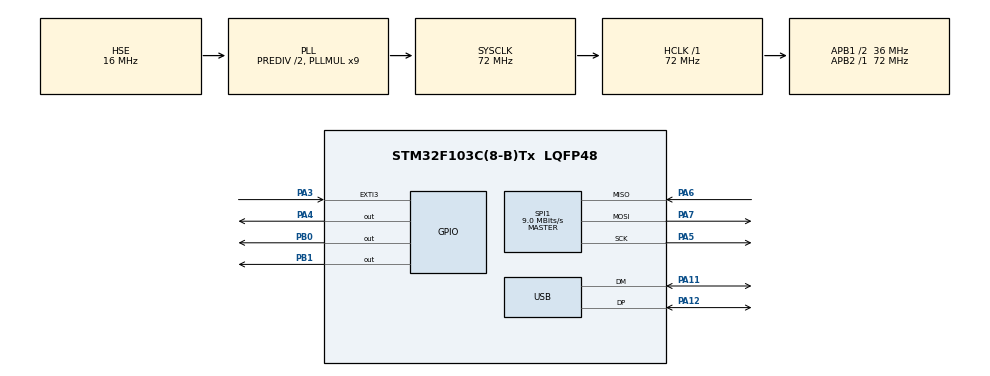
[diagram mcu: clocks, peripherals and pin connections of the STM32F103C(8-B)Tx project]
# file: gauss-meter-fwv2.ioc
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Mcu.Family=STM32F1
Mcu.Name=STM32F103C(8-B)Tx
Mcu.Package=LQFP48
NVIC.EXTI3_IRQn=true\:0\:0\:false\:false\:true\:true\:true\:true
NVIC.PriorityGroup=NVIC_PRIORITYGROUP_4
NVIC.USB_HP_CAN1_TX_IRQn=true\:0\:0\:false\:false\:true\:true\:true\:true
NVIC.USB_LP_CAN1_RX0_IRQn=true\:0\:0\:false\:false\:true\:true\:true\:true
PA11.Mode=Device
PA11.Signal=USB_DM
PA12.Mode=Device
PA12.Signal=USB_DP
PA13.Mode=Serial_Wire
PA13.Signal=SYS_JTMS-SWDIO
PA14.Mode=Serial_Wire
PA14.Signal=SYS_JTCK-SWCLK
PA3.GPIO_ModeDefaultEXTI=GPIO_MODE_IT_FALLING
PA3.Signal=GPXTI3
PA4.PinState=GPIO_PIN_SET
PA4.Signal=GPIO_Output
PA5.Mode=Full_Duplex_Master
PA5.Signal=SPI1_SCK
PA6.Mode=Full_Duplex_Master
PA6.Signal=SPI1_MISO
PA7.Mode=Full_Duplex_Master
PA7.Signal=SPI1_MOSI
PB0.Signal=GPIO_Output
PB1.Signal=GPIO_Output
PD0-OSC_IN.Mode=HSE-External-Oscillator
PD0-OSC_IN.Signal=RCC_OSC_IN
PD1-OSC_OUT.Mode=HSE-External-Oscillator
PD1-OSC_OUT.Signal=RCC_OSC_OUT
ProjectManager.HeapSize=0x200
ProjectManager.StackSize=0x400
ProjectManager.TargetToolchain=CMake
RCC.AHBFreq_Value=72000000
RCC.APB1CLKDivider=RCC_HCLK_DIV2
RCC.APB1Freq_Value=36000000
RCC.APB1TimFreq_Value=72000000
RCC.APB2Freq_Value=72000000
RCC.APB2TimFreq_Value=72000000
RCC.FLatency=FLASH_LATENCY_2
RCC.HCLKFreq_Value=72000000
RCC.HSEDivPLL=RCC_HSE_PREDIV_DIV2
RCC.HSE_VALUE=16000000
RCC.PLLMUL=RCC_PLL_MUL9
RCC.SYSCLKFreq_VALUE=72000000
RCC.SYSCLKSource=RCC_SYSCLKSOURCE_PLLCLK
RCC.USBFreq_Value=48000000
RCC.USBPrescaler=RCC_USBCLKSOURCE_PLL_DIV1_5
SPI1.BaudRatePrescaler=SPI_BAUDRATEPRESCALER_8
SPI1.CLKPhase=SPI_PHASE_1EDGE
SPI1.CLKPolarity=SPI_POLARITY_LOW
SPI1.CRCCalculation=SPI_CRCCALCULATION_DISABLE
SPI1.CalculateBaudRate=9.0 MBits/s
SPI1.DataSize=SPI_DATASIZE_8BIT
SPI1.Direction=SPI_DIRECTION_2LINES
SPI1.FirstBit=SPI_FIRSTBIT_MSB
SPI1.Mode=SPI_MODE_MASTER
SPI1.NSS=SPI_NSS_SOFT
SPI1.TIMode=SPI_TIMODE_DISABLE
SPI1.VirtualType=VM_MASTER
USB.DeviceSpeed=PCD_SPEED_FULL
USB.battery_charging_enable=DISABLE
USB.low_power_enable=DISABLE
USB.lpm_enable=DISABLE
USB_DEVICE.APP_RX_DATA_SIZE=1024
USB_DEVICE.APP_TX_DATA_SIZE=1024
USB_DEVICE.CLASS_NAME_FS=CDC
USB_DEVICE.CONFIGURATION_STRING_CDC_FS=CDC Config
USB_DEVICE.INTERFACE_STRING_CDC_FS=CDC Interface
USB_DEVICE.LANGID_STRING=1033
USB_DEVICE.MANUFACTURER_STRING=STMicroelectronics
USB_DEVICE.PID_CDC_FS=22336
USB_DEVICE.PRODUCT_STRING_CDC_FS=STM32 Virtual ComPort
USB_DEVICE.USBD_DEBUG_LEVEL=0
USB_DEVICE.USBD_MAX_NUM_CONFIGURATION=1
USB_DEVICE.USBD_MAX_NUM_INTERFACES=1
USB_DEVICE.USBD_MAX_STR_DESC_SIZ=512
USB_DEVICE.USBD_SELF_POWERED=0
USB_DEVICE.VID=1155
USB_DEVICE.VirtualMode=Cdc
USB_DEVICE.VirtualModeFS=Cdc_FS
VP_USB_DEVICE_VS_USB_DEVICE_CDC_FS.Mode=CDC_FS
board=custom

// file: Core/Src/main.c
/* USER CODE BEGIN Header */
/**
  ******************************************************************************
  * @file           : main.c
  * @brief          : Main program body
  ******************************************************************************
  * @attention
  *
  * Copyright (c) 2026 STMicroelectronics.
  * All rights reserved.
  *
  * This software is licensed under terms that can be found in the LICENSE file
  * in the root directory of this software component.
  * If no LICENSE file comes with this software, it is provided AS-IS.
  *
  ******************************************************************************
  */
/* USER CODE END Header */
#include "main.h"
#include "usb_device.h"

/* USER CODE BEGIN Includes */

#include "usbd_cdc_if.h"
#include <stdint.h>
/* USER CODE END Includes */

SPI_HandleTypeDef hspi1;

/* USER CODE BEGIN PV */
uint8_t usb_tx_buf[USB_BUF_LEN];
uint16_t usb_tx_buf_len;

uint8_t usb_rx_buf[USB_BUF_LEN];
uint16_t usb_rx_buf_len;
volatile uint8_t usb_rx_flag = 0;

volatile uint8_t start_measurement_flag = 0;
volatile uint8_t alert_flag = 0;
/* USER CODE END PV */

void SystemClock_Config(void);
static void MX_GPIO_Init(void);
static void MX_SPI1_Init(void);
/* USER CODE BEGIN PFP */
void USB_RXCallback(uint8_t *buf, uint32_t *len) {
  memcpy(usb_rx_buf, buf, *len);
  if(*len <= USB_BUF_LEN) {
    usb_rx_buf[*len] = 0x00;
  }
  usb_rx_buf_len = *len;
  usb_rx_flag = 1;

  if(buf[0] == 'H') {
    start_measurement_flag = 1;   // set flag if received 'H' for start
  } else if(buf[0] == 'S') {
    start_measurement_flag = 0;   // reset flag if received 'S' for stop
  }                               // don't change flag value in other case
}

uint32_t GetMicros(void) {
  uint32_t ms;
  uint32_t st;
  uint32_t load = SysTick->LOAD;

  do {
    ms = HAL_GetTick();   // get current ms
    st = SysTick->VAL;
  } while(ms != HAL_GetTick());   // get new current ms if changed

  uint32_t ticks_per_us = SystemCoreClock / 1e6;

  return (ms * 1000) + (load - st) / ticks_per_us;
    // load - st due to the systick timer counts downwards
}
/* USER CODE END PFP */

int main(void)
{

  /* MCU Configuration--------------------------------------------------------*/

  /* Reset of all peripherals, Initializes the Flash interface and the Systick. */
  HAL_Init();

  /* Configure the system clock */
  SystemClock_Config();

  /* Initialize all configured peripherals */
  MX_GPIO_Init();
  MX_SPI1_Init();
  MX_USB_DEVICE_Init();
  /* USER CODE BEGIN 2 */
  app_main();             // actual main function
  /* USER CODE END 2 */

  /* Infinite loop */
  while (1)
  {

  }
}

void SystemClock_Config(void)
{
  RCC_OscInitTypeDef RCC_OscInitStruct = {0};
  RCC_ClkInitTypeDef RCC_ClkInitStruct = {0};
  RCC_PeriphCLKInitTypeDef PeriphClkInit = {0};

  /** Initializes the RCC Oscillators according to the specified parameters
  * in the RCC_OscInitTypeDef structure.
  */
  RCC_OscInitStruct.OscillatorType = RCC_OSCILLATORTYPE_HSE;
  RCC_OscInitStruct.HSEState = RCC_HSE_ON;
  RCC_OscInitStruct.HSEPredivValue = RCC_HSE_PREDIV_DIV2;
  RCC_OscInitStruct.HSIState = RCC_HSI_ON;
  RCC_OscInitStruct.PLL.PLLState = RCC_PLL_ON;
  RCC_OscInitStruct.PLL.PLLSource = RCC_PLLSOURCE_HSE;
  RCC_OscInitStruct.PLL.PLLMUL = RCC_PLL_MUL9;
  if (HAL_RCC_OscConfig(&RCC_OscInitStruct) != HAL_OK)
  {
    Error_Handler();
  }

  /** Initializes the CPU, AHB and APB buses clocks
  */
  RCC_ClkInitStruct.ClockType = RCC_CLOCKTYPE_HCLK|RCC_CLOCKTYPE_SYSCLK
                              |RCC_CLOCKTYPE_PCLK1|RCC_CLOCKTYPE_PCLK2;
  RCC_ClkInitStruct.SYSCLKSource = RCC_SYSCLKSOURCE_PLLCLK;
  RCC_ClkInitStruct.AHBCLKDivider = RCC_SYSCLK_DIV1;
  RCC_ClkInitStruct.APB1CLKDivider = RCC_HCLK_DIV2;
  RCC_ClkInitStruct.APB2CLKDivider = RCC_HCLK_DIV1;

  if (HAL_RCC_ClockConfig(&RCC_ClkInitStruct, FLASH_LATENCY_2) != HAL_OK)
  {
    Error_Handler();
  }
  PeriphClkInit.PeriphClockSelection = RCC_PERIPHCLK_USB;
  PeriphClkInit.UsbClockSelection = RCC_USBCLKSOURCE_PLL_DIV1_5;
  if (HAL_RCCEx_PeriphCLKConfig(&PeriphClkInit) != HAL_OK)
  {
    Error_Handler();
  }
}

static void MX_SPI1_Init(void)
{

  /* SPI1 parameter configuration*/
  hspi1.Instance = SPI1;
  hspi1.Init.Mode = SPI_MODE_MASTER;
  hspi1.Init.Direction = SPI_DIRECTION_2LINES;
  hspi1.Init.DataSize = SPI_DATASIZE_8BIT;
  hspi1.Init.CLKPolarity = SPI_POLARITY_LOW;
  hspi1.Init.CLKPhase = SPI_PHASE_1EDGE;
  hspi1.Init.NSS = SPI_NSS_SOFT;
  hspi1.Init.BaudRatePrescaler = SPI_BAUDRATEPRESCALER_8;
  hspi1.Init.FirstBit = SPI_FIRSTBIT_MSB;
  hspi1.Init.TIMode = SPI_TIMODE_DISABLE;
  hspi1.Init.CRCCalculation = SPI_CRCCALCULATION_DISABLE;
  hspi1.Init.CRCPolynomial = 10;
  if (HAL_SPI_Init(&hspi1) != HAL_OK)
  {
    Error_Handler();
  }

}

static void MX_GPIO_Init(void)
{
  GPIO_InitTypeDef GPIO_InitStruct = {0};

  /* GPIO Ports Clock Enable */
  __HAL_RCC_GPIOD_CLK_ENABLE();
  __HAL_RCC_GPIOA_CLK_ENABLE();
  __HAL_RCC_GPIOB_CLK_ENABLE();

  /*Configure GPIO pin Output Level */
  HAL_GPIO_WritePin(GPIOA, GPIO_PIN_4, GPIO_PIN_SET);

  /*Configure GPIO pin Output Level */
  HAL_GPIO_WritePin(GPIOB, GPIO_PIN_0|GPIO_PIN_1, GPIO_PIN_RESET);

  /*Configure GPIO pin : PA3 */
  GPIO_InitStruct.Pin = GPIO_PIN_3;
  GPIO_InitStruct.Mode = GPIO_MODE_IT_FALLING;
  GPIO_InitStruct.Pull = GPIO_NOPULL;
  HAL_GPIO_Init(GPIOA, &GPIO_InitStruct);

  /*Configure GPIO pin : PA4 */
  GPIO_InitStruct.Pin = GPIO_PIN_4;
  GPIO_InitStruct.Mode = GPIO_MODE_OUTPUT_PP;
  GPIO_InitStruct.Pull = GPIO_NOPULL;
  GPIO_InitStruct.Speed = GPIO_SPEED_FREQ_LOW;
  HAL_GPIO_Init(GPIOA, &GPIO_InitStruct);

  /*Configure GPIO pins : PB0 PB1 */
  GPIO_InitStruct.Pin = GPIO_PIN_0|GPIO_PIN_1;
  GPIO_InitStruct.Mode = GPIO_MODE_OUTPUT_PP;
  GPIO_InitStruct.Pull = GPIO_NOPULL;
  GPIO_InitStruct.Speed = GPIO_SPEED_FREQ_LOW;
  HAL_GPIO_Init(GPIOB, &GPIO_InitStruct);

  /* EXTI interrupt init*/
  HAL_NVIC_SetPriority(EXTI3_IRQn, 0, 0);
  HAL_NVIC_EnableIRQ(EXTI3_IRQn);

}

/* USER CODE BEGIN 4 */
void HAL_GPIO_EXTI_Callback(uint16_t GPIO_Pin) {
  if(GPIO_Pin == GPIO_PIN_3) {      // interrupt from TMAG5170 alert pin
    alert_flag = 1;
  } else {
    __NOP();
  }
}
/* USER CODE END 4 */

void Error_Handler(void)
{
  __disable_irq();
  while (1)
  {
  }
}
